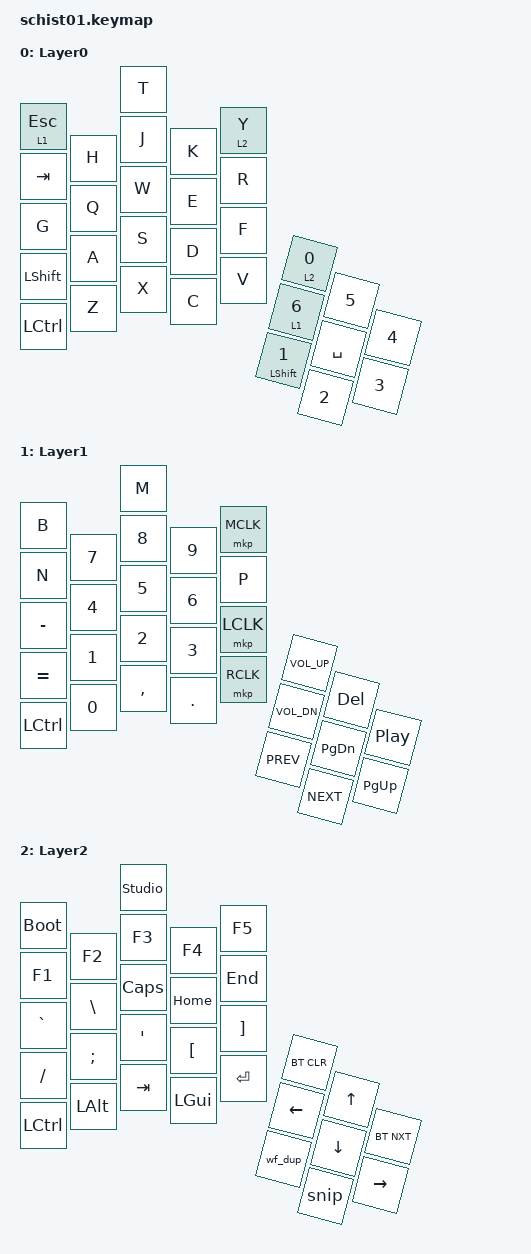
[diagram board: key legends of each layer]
/*
 * Copyright (c) 2020 The ZMK Contributors
 *
 * SPDX-License-Identifier: MIT
 */

#include <zephyr/dt-bindings/input/input-event-codes.h>

#include <behaviors.dtsi>
#include <behaviors/studio_unlock.dtsi>
#include <behaviors/mouse_keys.dtsi>
#include <behaviors/mouse_key_press.dtsi>
#include <dt-bindings/zmk/keys.h>
#include <dt-bindings/zmk/bt.h>
#include <dt-bindings/zmk/rgb.h>
#include <dt-bindings/zmk/ext_power.h>
#include <dt-bindings/zmk/outputs.h>
//#include <dt-bindings/zmk/mouse.h>
#include <dt-bindings/zmk/pointing.h>
#include <dt-bindings/zmk/input_transform.h>
#include <input/processors.dtsi>

//Layers
#define default_layer 0
#define layer1 1
#define layer2 2


/ {
tpad0_listener {
                compatible = "zmk,input-listener"; 
                device = <&tpad0>;
                status = "okay";
                input-processors = <&zip_xy_transform (INPUT_TRANSFORM_Y_INVERT)>,<&zip_xy_scaler 3 1>;
                
                precise {
                    layers = <layer1>;
                    input-processors = <&zip_xy_transform (INPUT_TRANSFORM_Y_INVERT)>,<&zip_xy_scaler 1 2>;
                };

                scroll{
                    layers = <layer2>;
                    input-processors = <&zip_xy_scaler 1 30>,<&zip_xy_to_scroll_mapper>;
                };
                
        };
        
        //windows snipping tool
        ZMK_MACRO(snip,
            wait-ms = <30>;
            tap-ms = <40>;
            bindings
                = <&macro_press &kp LGUI>
                , <&macro_press &kp LSHIFT>
                , <&macro_tap &kp S>
                , <&macro_release &kp LSHIFT>
                , <&macro_release &kp LGUI>
                ;
        )
        //workflwy duplicate shortcut
        ZMK_MACRO(wf_dup,
            wait-ms = <30>;
            tap-ms = <40>;
            bindings
                = <&macro_press &kp LALT>
                , <&macro_press &kp LSHIFT>
                , <&macro_tap &kp D>
                , <&macro_release &kp LSHIFT>
                , <&macro_release &kp LALT>
                ;
        )

keymap {
        compatible = "zmk,keymap";

        default_layer {
            display-name = "Layer0";
            bindings = <
                &lt 1 ESC           &kp T 
                &kp TAB    &kp H    &kp J      &kp K     &lt 2 Y
                &kp G      &kp Q    &kp W      &kp E     &kp R   &lt 2 N0        &kp N5
                &kp LSHIFT &kp A    &kp S      &kp D     &kp F   &lt 1 N6        &kp SPACE    &kp N4
                &kp LCTRL  &kp Z    &kp X      &kp C     &kp V   &mt LSHIFT N1   &kp N2       &kp N3
            >;
        };
        layer1 {
            display-name = "Layer1";
            bindings = <
                &kp B              &kp M 
                &kp N     &kp N7   &kp N8     &kp N9    &mkp MCLK
                &kp MINUS &kp N4   &kp N5     &kp N6    &kp P      &kp C_VOL_UP  &kp DEL
                &kp EQUAL &kp N1   &kp N2     &kp N3    &mkp LCLK  &kp C_VOL_DN  &kp PG_DN    &kp C_PLAY_PAUSE
                &kp LCTRL &kp N0   &kp COMMA  &kp DOT   &mkp RCLK  &kp C_PREV    &kp C_NEXT   &kp PG_UP
            >;
        };
        layer2 {
            display-name = "Layer2";
            bindings = <
                &bootloader          &studio_unlock
                &kp F1     &kp F2    &kp F3         &kp F4    &kp F5
                &kp GRAVE  &kp BSLH  &kp CAPS       &kp HOME  &kp END     &bt BT_CLR &kp UP
                &kp SLASH  &kp SEMI  &kp SQT        &kp LBKT  &kp RBKT    &kp LEFT   &kp DOWN  &bt BT_NXT
                &kp LCTRL  &kp LALT  &kp TAB        &kp LGUI  &kp RET     &wf_dup    &snip     &kp RIGHT
            >;
        };
        layer3 {
            status = "reserved";
        };
        layer4 {
            status = "reserved";
        };
    };
};

